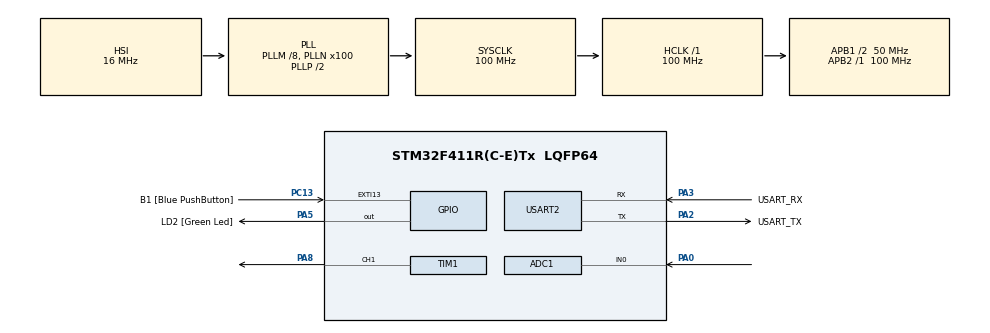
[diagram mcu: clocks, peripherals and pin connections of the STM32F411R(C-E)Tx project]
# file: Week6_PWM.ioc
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Mcu.Family=STM32F4
RCC.CortexFreq_Value=100000000
PA14.GPIO_Label=TCK
TIM1.Pulse-PWM\ Generation1\ CH1=0
RCC.SYSCLKSource=RCC_SYSCLKSOURCE_PLLCLK
ProjectManager.StackSize=0x400
NVIC.ADC_IRQn=true\:0\:0\:false\:false\:true\:true\:true
PH0\ -\ OSC_IN.Signal=RCC_OSC_IN
RCC.HCLKFreq_Value=100000000
RCC.APB2TimFreq_Value=100000000
TIM3.Period=1000
RCC.AHBFreq_Value=100000000
ADC1.Channel-0\#ChannelRegularConversion=ADC_CHANNEL_0
NVIC.TIM1_TRG_COM_TIM11_IRQn=true\:0\:0\:false\:false\:true\:true\:true
RCC.HSE_VALUE=8000000
PC13-ANTI_TAMP.Signal=GPXTI13
PC14-OSC32_IN.Mode=LSE-External-Oscillator
TIM1.Channel-PWM\ Generation1\ CH1=TIM_CHANNEL_1
PA14.Mode=Serial_Wire
TIM3.Prescaler=99
PA8.Signal=S_TIM1_CH1
SH.ADCx_IN0.0=ADC1_IN0,IN0
VP_TIM1_VS_ClockSourceINT.Mode=Internal
ADC1.SamplingTime-0\#ChannelRegularConversion=ADC_SAMPLETIME_480CYCLES
RCC.FLatency-AdvancedSettings=FLASH_LATENCY_3
Mcu.Package=LQFP64
USART2.VirtualMode=VM_ASYNC
PA2.GPIO_Label=USART_TX
RCC.APB1TimFreq_Value=100000000
TIM1.Period=10000
VP_TIM3_VS_ClockSourceINT.Mode=Internal
PA3.Signal=USART2_RX
PB3.GPIO_Label=SWO
PC15-OSC32_OUT.Mode=LSE-External-Oscillator
ADC1.Rank-0\#ChannelRegularConversion=1
PC13-ANTI_TAMP.GPIO_Label=B1 [Blue PushButton]
PH1\ -\ OSC_OUT.Mode=HSE-External-Clock-Source
TIM11.Prescaler=99
RCC.APB1CLKDivider=RCC_HCLK_DIV2
PC14-OSC32_IN.Signal=RCC_OSC32_IN
PA0-WKUP.Signal=ADCx_IN0
VP_TIM11_VS_ClockSourceINT.Mode=Enable_Timer
PA13.Signal=SYS_JTMS-SWDIO
PA3.Mode=Asynchronous
PH0\ -\ OSC_IN.Mode=HSE-External-Clock-Source
SH.S_TIM1_CH1.0=TIM1_CH1,PWM Generation1 CH1
ProjectManager.TargetToolchain=STM32CubeIDE
PC15-OSC32_OUT.Signal=RCC_OSC32_OUT
PA5.Signal=GPIO_Output
PH1\ -\ OSC_OUT.Signal=RCC_OSC_OUT
board=NUCLEO-F411RE
RCC.VCOOutputFreq_Value=200000000
RCC.APB2Freq_Value=100000000
PA13.Mode=Serial_Wire
Mcu.Name=STM32F411R(C-E)Tx
PA13.GPIO_Label=TMS
PA2.Signal=USART2_TX
ADC1.ExternalTrigConv=ADC_EXTERNALTRIGCONV_T3_TRGO
RCC.48MHZClocksFreq_Value=50000000
PB3.Signal=SYS_JTDO-SWO
RCC.SYSCLKFreq_VALUE=100000000
ADC1.master=1
PA5.GPIO_Label=LD2 [Green Led]
PC13-ANTI_TAMP.GPIO_ModeDefaultEXTI=GPIO_MODE_IT_FALLING
PA14.Signal=SYS_JTCK-SWCLK
ProjectManager.HeapSize=0x200
RCC.HSI_VALUE=16000000
NVIC.PriorityGroup=NVIC_PRIORITYGROUP_0
ADC1.NbrOfConversionFlag=1
RCC.PLLM=8
RCC.PLLN=100
PA2.Mode=Asynchronous
TIM3.TIM_MasterOutputTrigger=TIM_TRGO_UPDATE
RCC.APB1Freq_Value=50000000
PA3.GPIO_Label=USART_RX

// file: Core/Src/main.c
/* USER CODE BEGIN Header */
/**
 ******************************************************************************
 * @file           : main.c
 * @brief          : Main program body
 ******************************************************************************
 * @attention
 *
 * <h2><center>&copy; Copyright (c) 2021 STMicroelectronics.
 * All rights reserved.</center></h2>
 *
 * This software component is licensed by ST under BSD 3-Clause license,
 * the "License"; You may not use this file except in compliance with the
 * License. You may obtain a copy of the License at:
 *                        opensource.org/licenses/BSD-3-Clause
 *
 ******************************************************************************
 */
/* USER CODE END Header */
#include "main.h"

ADC_HandleTypeDef hadc1;

TIM_HandleTypeDef htim1;
TIM_HandleTypeDef htim3;
TIM_HandleTypeDef htim11;

UART_HandleTypeDef huart2;

/* USER CODE BEGIN PV */

uint8_t ADCUpdateFlag = 0;
//Store ADC Value
uint16_t ADCFeedBack = 0;

float PWMPeriod = 10000;

uint64_t _micro = 0;
uint64_t TimeOutputLoop = 0;

float Want_Voltage = 1; // V
float Voltage_ref = 3.3;
float ADC_ref = 4096;
float OutputVol = 0;
uint16_t Kp = 1.75;
float Error = 0;

/* USER CODE END PV */

void SystemClock_Config(void);
static void MX_GPIO_Init(void);
static void MX_USART2_UART_Init(void);
static void MX_ADC1_Init(void);
static void MX_TIM1_Init(void);
static void MX_TIM3_Init(void);
static void MX_TIM11_Init(void);
/* USER CODE BEGIN PFP */
uint64_t micros();
/* USER CODE END PFP */

int main(void) {

	/* MCU Configuration--------------------------------------------------------*/

	/* Reset of all peripherals, Initializes the Flash interface and the Systick. */
	HAL_Init();

	/* Configure the system clock */
	SystemClock_Config();

	/* Initialize all configured peripherals */
	MX_GPIO_Init();
	MX_USART2_UART_Init();
	MX_ADC1_Init();
	MX_TIM1_Init();
	MX_TIM3_Init();
	MX_TIM11_Init();
	/* USER CODE BEGIN 2 */

	//ADC START
	HAL_ADC_Start_IT(&hadc1);
	HAL_TIM_Base_Start(&htim3);
	//start pwm
	HAL_TIM_Base_Start(&htim1);
	HAL_TIM_PWM_Start(&htim1, TIM_CHANNEL_1);
	//start micros
	HAL_TIM_Base_Start_IT(&htim11);

	/* USER CODE END 2 */

	/* Infinite loop */
	/* USER CODE BEGIN WHILE */
	while (1) {
		//1 Khz Loop
		if (micros() - TimeOutputLoop > 1000) //uS
				{
			TimeOutputLoop = micros();
			// #001
			OutputVol = ADCFeedBack * (Voltage_ref / ADC_ref);
			Error = Want_Voltage - OutputVol;
			PWMPeriod = PWMPeriod + (Kp * Error);
			__HAL_TIM_SET_COMPARE(&htim1, TIM_CHANNEL_1, PWMPeriod);

		}

		if (ADCUpdateFlag) {
			ADCUpdateFlag = 0;
			//#002
		}

		/* USER CODE END WHILE */

	}
}

void SystemClock_Config(void) {
	RCC_OscInitTypeDef RCC_OscInitStruct = { 0 };
	RCC_ClkInitTypeDef RCC_ClkInitStruct = { 0 };

	/** Configure the main internal regulator output voltage
	 */
	__HAL_RCC_PWR_CLK_ENABLE();
	__HAL_PWR_VOLTAGESCALING_CONFIG(PWR_REGULATOR_VOLTAGE_SCALE1);
	/** Initializes the RCC Oscillators according to the specified parameters
	 * in the RCC_OscInitTypeDef structure.
	 */
	RCC_OscInitStruct.OscillatorType = RCC_OSCILLATORTYPE_HSI;
	RCC_OscInitStruct.HSIState = RCC_HSI_ON;
	RCC_OscInitStruct.HSICalibrationValue = RCC_HSICALIBRATION_DEFAULT;
	RCC_OscInitStruct.PLL.PLLState = RCC_PLL_ON;
	RCC_OscInitStruct.PLL.PLLSource = RCC_PLLSOURCE_HSI;
	RCC_OscInitStruct.PLL.PLLM = 8;
	RCC_OscInitStruct.PLL.PLLN = 100;
	RCC_OscInitStruct.PLL.PLLP = RCC_PLLP_DIV2;
	RCC_OscInitStruct.PLL.PLLQ = 4;
	if (HAL_RCC_OscConfig(&RCC_OscInitStruct) != HAL_OK) {
		Error_Handler();
	}
	/** Initializes the CPU, AHB and APB buses clocks
	 */
	RCC_ClkInitStruct.ClockType = RCC_CLOCKTYPE_HCLK | RCC_CLOCKTYPE_SYSCLK
			| RCC_CLOCKTYPE_PCLK1 | RCC_CLOCKTYPE_PCLK2;
	RCC_ClkInitStruct.SYSCLKSource = RCC_SYSCLKSOURCE_PLLCLK;
	RCC_ClkInitStruct.AHBCLKDivider = RCC_SYSCLK_DIV1;
	RCC_ClkInitStruct.APB1CLKDivider = RCC_HCLK_DIV2;
	RCC_ClkInitStruct.APB2CLKDivider = RCC_HCLK_DIV1;

	if (HAL_RCC_ClockConfig(&RCC_ClkInitStruct, FLASH_LATENCY_3) != HAL_OK) {
		Error_Handler();
	}
}

static void MX_ADC1_Init(void) {

	ADC_ChannelConfTypeDef sConfig = { 0 };

	/** Configure the global features of the ADC (Clock, Resolution, Data Alignment and number of conversion)
	 */
	hadc1.Instance = ADC1;
	hadc1.Init.ClockPrescaler = ADC_CLOCK_SYNC_PCLK_DIV4;
	hadc1.Init.Resolution = ADC_RESOLUTION_12B;
	hadc1.Init.ScanConvMode = DISABLE;
	hadc1.Init.ContinuousConvMode = DISABLE;
	hadc1.Init.DiscontinuousConvMode = DISABLE;
	hadc1.Init.ExternalTrigConvEdge = ADC_EXTERNALTRIGCONVEDGE_RISING;
	hadc1.Init.ExternalTrigConv = ADC_EXTERNALTRIGCONV_T3_TRGO;
	hadc1.Init.DataAlign = ADC_DATAALIGN_RIGHT;
	hadc1.Init.NbrOfConversion = 1;
	hadc1.Init.DMAContinuousRequests = DISABLE;
	hadc1.Init.EOCSelection = ADC_EOC_SINGLE_CONV;
	if (HAL_ADC_Init(&hadc1) != HAL_OK) {
		Error_Handler();
	}
	/** Configure for the selected ADC regular channel its corresponding rank in the sequencer and its sample time.
	 */
	sConfig.Channel = ADC_CHANNEL_0;
	sConfig.Rank = 1;
	sConfig.SamplingTime = ADC_SAMPLETIME_480CYCLES;
	if (HAL_ADC_ConfigChannel(&hadc1, &sConfig) != HAL_OK) {
		Error_Handler();
	}

}

static void MX_TIM1_Init(void) {

	TIM_ClockConfigTypeDef sClockSourceConfig = { 0 };
	TIM_MasterConfigTypeDef sMasterConfig = { 0 };
	TIM_OC_InitTypeDef sConfigOC = { 0 };
	TIM_BreakDeadTimeConfigTypeDef sBreakDeadTimeConfig = { 0 };

	htim1.Instance = TIM1;
	htim1.Init.Prescaler = 0;
	htim1.Init.CounterMode = TIM_COUNTERMODE_UP;
	htim1.Init.Period = 10000;
	htim1.Init.ClockDivision = TIM_CLOCKDIVISION_DIV1;
	htim1.Init.RepetitionCounter = 0;
	htim1.Init.AutoReloadPreload = TIM_AUTORELOAD_PRELOAD_DISABLE;
	if (HAL_TIM_Base_Init(&htim1) != HAL_OK) {
		Error_Handler();
	}
	sClockSourceConfig.ClockSource = TIM_CLOCKSOURCE_INTERNAL;
	if (HAL_TIM_ConfigClockSource(&htim1, &sClockSourceConfig) != HAL_OK) {
		Error_Handler();
	}
	if (HAL_TIM_PWM_Init(&htim1) != HAL_OK) {
		Error_Handler();
	}
	sMasterConfig.MasterOutputTrigger = TIM_TRGO_RESET;
	sMasterConfig.MasterSlaveMode = TIM_MASTERSLAVEMODE_DISABLE;
	if (HAL_TIMEx_MasterConfigSynchronization(&htim1, &sMasterConfig)
			!= HAL_OK) {
		Error_Handler();
	}
	sConfigOC.OCMode = TIM_OCMODE_PWM1;
	sConfigOC.Pulse = 0;
	sConfigOC.OCPolarity = TIM_OCPOLARITY_HIGH;
	sConfigOC.OCNPolarity = TIM_OCNPOLARITY_HIGH;
	sConfigOC.OCFastMode = TIM_OCFAST_DISABLE;
	sConfigOC.OCIdleState = TIM_OCIDLESTATE_RESET;
	sConfigOC.OCNIdleState = TIM_OCNIDLESTATE_RESET;
	if (HAL_TIM_PWM_ConfigChannel(&htim1, &sConfigOC, TIM_CHANNEL_1)
			!= HAL_OK) {
		Error_Handler();
	}
	sBreakDeadTimeConfig.OffStateRunMode = TIM_OSSR_DISABLE;
	sBreakDeadTimeConfig.OffStateIDLEMode = TIM_OSSI_DISABLE;
	sBreakDeadTimeConfig.LockLevel = TIM_LOCKLEVEL_OFF;
	sBreakDeadTimeConfig.DeadTime = 0;
	sBreakDeadTimeConfig.BreakState = TIM_BREAK_DISABLE;
	sBreakDeadTimeConfig.BreakPolarity = TIM_BREAKPOLARITY_HIGH;
	sBreakDeadTimeConfig.AutomaticOutput = TIM_AUTOMATICOUTPUT_DISABLE;
	if (HAL_TIMEx_ConfigBreakDeadTime(&htim1, &sBreakDeadTimeConfig)
			!= HAL_OK) {
		Error_Handler();
	}
	HAL_TIM_MspPostInit(&htim1);

}

static void MX_TIM3_Init(void) {

	TIM_ClockConfigTypeDef sClockSourceConfig = { 0 };
	TIM_MasterConfigTypeDef sMasterConfig = { 0 };

	htim3.Instance = TIM3;
	htim3.Init.Prescaler = 99;
	htim3.Init.CounterMode = TIM_COUNTERMODE_UP;
	htim3.Init.Period = 1000;
	htim3.Init.ClockDivision = TIM_CLOCKDIVISION_DIV1;
	htim3.Init.AutoReloadPreload = TIM_AUTORELOAD_PRELOAD_DISABLE;
	if (HAL_TIM_Base_Init(&htim3) != HAL_OK) {
		Error_Handler();
	}
	sClockSourceConfig.ClockSource = TIM_CLOCKSOURCE_INTERNAL;
	if (HAL_TIM_ConfigClockSource(&htim3, &sClockSourceConfig) != HAL_OK) {
		Error_Handler();
	}
	sMasterConfig.MasterOutputTrigger = TIM_TRGO_UPDATE;
	sMasterConfig.MasterSlaveMode = TIM_MASTERSLAVEMODE_DISABLE;
	if (HAL_TIMEx_MasterConfigSynchronization(&htim3, &sMasterConfig)
			!= HAL_OK) {
		Error_Handler();
	}

}

static void MX_TIM11_Init(void) {

	htim11.Instance = TIM11;
	htim11.Init.Prescaler = 99;
	htim11.Init.CounterMode = TIM_COUNTERMODE_UP;
	htim11.Init.Period = 65535;
	htim11.Init.ClockDivision = TIM_CLOCKDIVISION_DIV1;
	htim11.Init.AutoReloadPreload = TIM_AUTORELOAD_PRELOAD_DISABLE;
	if (HAL_TIM_Base_Init(&htim11) != HAL_OK) {
		Error_Handler();
	}

}

static void MX_USART2_UART_Init(void) {

	huart2.Instance = USART2;
	huart2.Init.BaudRate = 115200;
	huart2.Init.WordLength = UART_WORDLENGTH_8B;
	huart2.Init.StopBits = UART_STOPBITS_1;
	huart2.Init.Parity = UART_PARITY_NONE;
	huart2.Init.Mode = UART_MODE_TX_RX;
	huart2.Init.HwFlowCtl = UART_HWCONTROL_NONE;
	huart2.Init.OverSampling = UART_OVERSAMPLING_16;
	if (HAL_UART_Init(&huart2) != HAL_OK) {
		Error_Handler();
	}

}

static void MX_GPIO_Init(void) {
	GPIO_InitTypeDef GPIO_InitStruct = { 0 };

	/* GPIO Ports Clock Enable */
	__HAL_RCC_GPIOC_CLK_ENABLE();
	__HAL_RCC_GPIOH_CLK_ENABLE();
	__HAL_RCC_GPIOA_CLK_ENABLE();
	__HAL_RCC_GPIOB_CLK_ENABLE();

	/*Configure GPIO pin Output Level */
	HAL_GPIO_WritePin(LD2_GPIO_Port, LD2_Pin, GPIO_PIN_RESET);

	/*Configure GPIO pin : B1_Pin */
	GPIO_InitStruct.Pin = B1_Pin;
	GPIO_InitStruct.Mode = GPIO_MODE_IT_FALLING;
	GPIO_InitStruct.Pull = GPIO_NOPULL;
	HAL_GPIO_Init(B1_GPIO_Port, &GPIO_InitStruct);

	/*Configure GPIO pin : LD2_Pin */
	GPIO_InitStruct.Pin = LD2_Pin;
	GPIO_InitStruct.Mode = GPIO_MODE_OUTPUT_PP;
	GPIO_InitStruct.Pull = GPIO_NOPULL;
	GPIO_InitStruct.Speed = GPIO_SPEED_FREQ_LOW;
	HAL_GPIO_Init(LD2_GPIO_Port, &GPIO_InitStruct);

}

/* USER CODE BEGIN 4 */

void HAL_ADC_ConvCpltCallback(ADC_HandleTypeDef *hadc) {
	ADCFeedBack = HAL_ADC_GetValue(&hadc1);
	ADCUpdateFlag = 1;
}
void HAL_TIM_PeriodElapsedCallback(TIM_HandleTypeDef *htim) {
	if (htim == &htim11) {
		_micro += 65535;
	}
}

__inline__ uint64_t micros() {
	return _micro + htim11.Instance->CNT;
}
/* USER CODE END 4 */

void Error_Handler(void) {
	__disable_irq();
	while (1) {
	}
}

/************************ (C) COPYRIGHT STMicroelectronics *****END OF FILE****/
